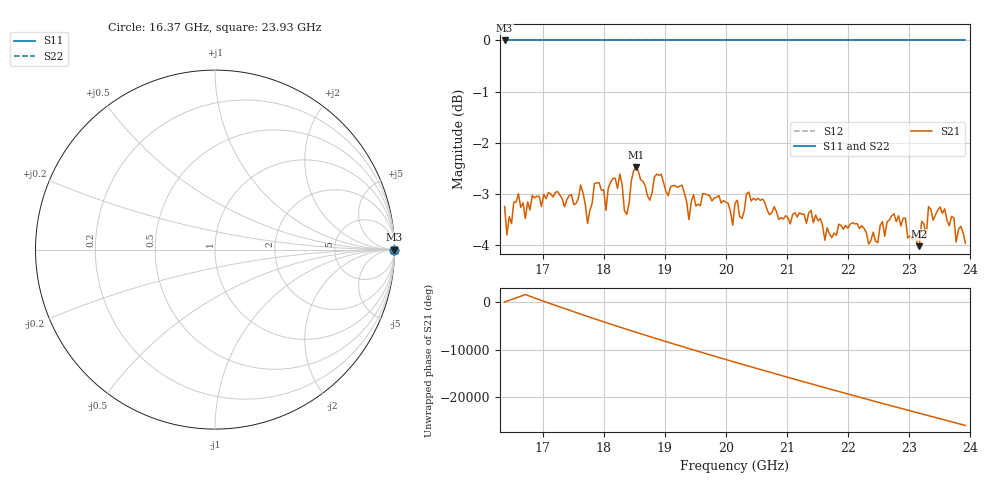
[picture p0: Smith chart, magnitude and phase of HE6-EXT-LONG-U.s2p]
!Agilent N9918A: A.07.57
!Date: Thursday, 22 August 2019 15:34:20
!Timezone: (GMT-08:00) Pacific Time (US & Canada)
!Model: N9918A
!Serial: MY53103598
!GPS Latitude:
!GPS Longitude:
!GPS TimeStamp: 0001-01-01 00:00:00Z
!GPS Seconds Since Last Read: 0
!CHECKSUM:2108327879
!Correction: S11()S21(Rdy)S12()S22()
!S2P File: Measurements:S11,S21,S12,S22:
# Hz S DB R 50
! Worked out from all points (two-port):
!   201 points, 16.37 GHz to 23.93 GHz, reference 50 ohm
!   highest |S21| = -2.48 dB at 18.53 GHz (marker M1); lowest = -4.0 dB at 23.17 GHz (marker M2)
!   |S21| within 3 dB of the highest: start of sweep to end of sweep
!   lowest |S11| = 0.0 dB at 16.37 GHz (marker M3)
!   |S11| at or under -10 dB: nowhere
!   |S22| runs from 0.0 to 0.0 dB; largest |S21 - S12| = 1.7
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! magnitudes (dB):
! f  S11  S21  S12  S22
! 16.37 GHz  0.0  -3.3  0.0  0.0
! 16.41 GHz  0.0  -3.8  0.0  0.0
! 16.6 GHz  0.0  -3.0  0.0  0.0
! 16.71 GHz  0.0  -3.5  0.0  0.0
! 17.66 GHz  0.0  -3.0  0.0  0.0
! 17.73 GHz  0.0  -3.6  0.0  0.0
! 17.85 GHz  0.0  -2.8  0.0  0.0
! 18.03 GHz  0.0  -3.3  0.0  0.0
! 18.26 GHz  0.0  -2.6  0.0  0.0
! 18.37 GHz  0.0  -3.4  0.0  0.0
! 18.53 GHz  0.0  -2.5  0.0  0.0
! 18.75 GHz  0.0  -3.1  0.0  0.0
! 18.9 GHz  0.0  -2.6  0.0  0.0
! 19.28 GHz  0.0  -2.8  0.0  0.0
! 19.39 GHz  0.0  -3.5  0.0  0.0
! 19.47 GHz  0.0  -3.0  0.0  0.0
! 20.19 GHz  0.0  -3.1  0.0  0.0
! 21.44 GHz  0.0  -3.6  0.0  0.0
! 22.68 GHz  0.0  -3.5  0.0  0.0
! 23.17 GHz  0.0  -4.0  0.0  0.0
! 23.32 GHz  0.0  -3.3  0.0  0.0
! 23.93 GHz  0.0  -4.0  0.0  0.0
